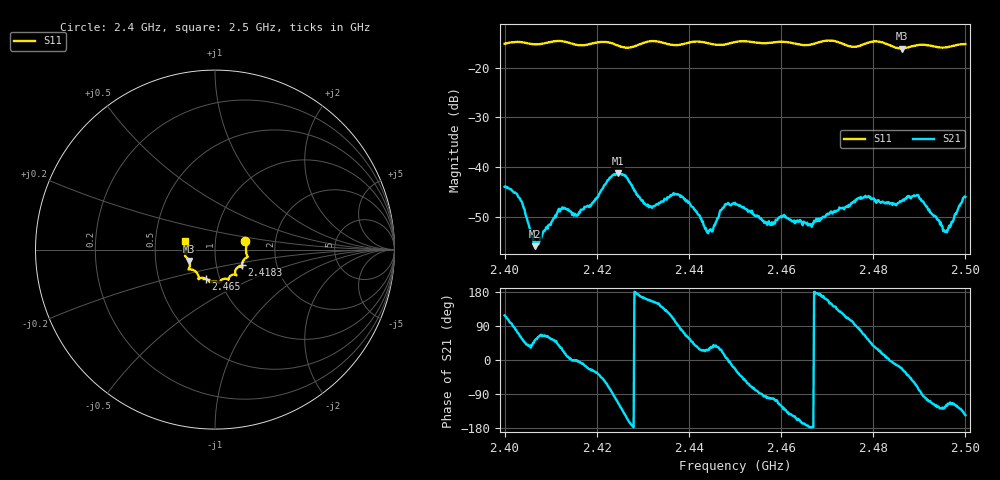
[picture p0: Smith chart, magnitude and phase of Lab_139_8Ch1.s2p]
# Hz S RI R 50
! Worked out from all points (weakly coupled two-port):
!   601 points, 2.4 GHz to 2.5 GHz, reference 50 ohm
!   highest |S21| = -41.25 dB at 2.4247 GHz (marker M1); lowest = -56.0 dB at 2.4065 GHz (marker M2)
!   lowest |S11| = -16.1 dB at 2.4862 GHz (marker M3), VSWR 1.37, Z = 37.2 - j4.78 ohm
!   |S11| at or under -10 dB: start of sweep to end of sweep
!   S12 and S22 are empty: the file has one direction only
!   S11 on the Smith chart (normalised r, x): 2.4 GHz: 1.40, +0.13; 2.4183 GHz: 1.33, -0.24; 2.465 GHz: 0.86, -0.28; 2.5 GHz: 0.71, +0.07
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2.4e9  0.1688 0.0463  -0.00294 0.0056  0 0  0 0
2.403333e9  0.1796 0.0316  0.00222 0.00424  0 0  0 0
2.4065e9  0.1726 0.00296  0.000997 0.00124  0 0  0 0
2.412e9  0.1819 -0.0413  0.00296 0.00197  0 0  0 0
2.416667e9  0.1545 -0.0678  0.00366 -0.000534  0 0  0 0
2.418333e9  0.1497 -0.0869  0.00359 -0.00162  0 0  0 0
2.424667e9  0.1377 -0.095  -0.00354 -0.0079  0 0  0 0
2.430333e9  0.1146 -0.1387  -0.00415 0.0012  0 0  0 0
2.433333e9  0.1177 -0.1411  -0.00353 0.00223  0 0  0 0
2.438e9  0.0827 -0.1494  0.000453 0.00519  0 0  0 0
2.4445e9  0.0655 -0.1631  0.00195 0.00122  0 0  0 0
2.447667e9  0.0385 -0.167  0.00386 0.000923  0 0  0 0
2.45e9  0.0257 -0.1801  0.00403 -0.00168  0 0  0 0
2.457333e9  -0.012 -0.1779  -0.000535 -0.00279  0 0  0 0
2.465e9  -0.0524 -0.1612  -0.00274 -0.000596  0 0  0 0
2.466667e9  -0.0711 -0.1571  -0.00249 -0.000102  0 0  0 0
2.477e9  -0.1216 -0.1136  0.000642 0.00488  0 0  0 0
2.483333e9  -0.1411 -0.0966  0.00442 0.000245  0 0  0 0
2.486167e9  -0.1434 -0.0627  0.0042 -0.00164  0 0  0 0
2.489833e9  -0.1659 -0.0375  0.00109 -0.00502  0 0  0 0
2.495667e9  -0.1601 0.0121  -0.00117 -0.00187  0 0  0 0
2.5e9  -0.167 0.0472  -0.00413 -0.0028  0 0  0 0
